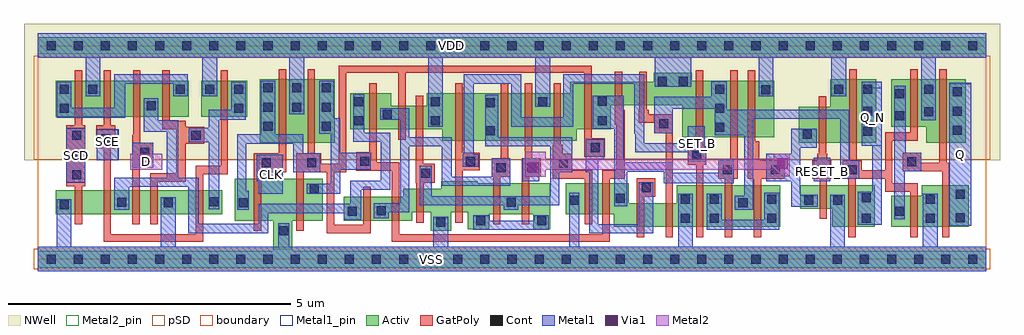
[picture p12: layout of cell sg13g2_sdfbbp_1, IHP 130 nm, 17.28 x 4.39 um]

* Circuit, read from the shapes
.subckt sg13g2_sdfbbp_1 CLK D Q Q_N RESET_B SCD SCE SET_B VDD VSS
XM1 n1 SCD VSS VSS sg13_lv_nmos w=0.42u l=0.13u
XM2 n2 SCE n1 VSS sg13_lv_nmos w=0.42u l=0.13u
XM3 n3 D n2 VSS sg13_lv_nmos w=0.42u l=0.13u
XM4 VSS n4 n3 VSS sg13_lv_nmos w=0.42u l=0.13u
XM5 n4 SCE VSS VSS sg13_lv_nmos w=0.42u l=0.13u
XM6 VSS CLK n5 VSS sg13_lv_nmos w=0.74u l=0.13u
XM7 n6 n5 VSS VSS sg13_lv_nmos w=0.74u l=0.13u
XM8 n7 n5 n2 VSS sg13_lv_nmos w=0.42u l=0.13u
XM9 n8 n6 n7 VSS sg13_lv_nmos w=0.42u l=0.13u
XM10 VSS n9 n8 VSS sg13_lv_nmos w=0.42u l=0.13u
XM11 n10 SET_B VSS VSS sg13_lv_nmos w=0.55u l=0.13u
XM12 n9 n7 n10 VSS sg13_lv_nmos w=0.55u l=0.13u
XM13 n10 n11 n9 VSS sg13_lv_nmos w=0.55u l=0.13u
XM14 n12 n9 VSS VSS sg13_lv_nmos w=0.55u l=0.13u
XM15 n13 n6 n12 VSS sg13_lv_nmos w=0.55u l=0.13u
XM16 n14 n5 n13 VSS sg13_lv_nmos w=0.42u l=0.13u
XM17 VSS n15 n14 VSS sg13_lv_nmos w=0.42u l=0.13u
XM18 n16 SET_B VSS VSS sg13_lv_nmos w=0.74u l=0.13u
XM19 n15 n13 n16 VSS sg13_lv_nmos w=0.74u l=0.13u
XM20 n16 n11 n15 VSS sg13_lv_nmos w=0.74u l=0.13u
XM21 VSS RESET_B n11 VSS sg13_lv_nmos w=0.42u l=0.13u
XM22 Q_N n15 VSS VSS sg13_lv_nmos w=0.74u l=0.13u
XM23 VSS n15 n17 VSS sg13_lv_nmos w=0.55u l=0.13u
XM24 Q n17 VSS VSS sg13_lv_nmos w=0.74u l=0.13u
XM25 VDD SCD n18 VDD sg13_lv_pmos w=0.64u l=0.13u
XM26 n19 SCE VDD VDD sg13_lv_pmos w=0.64u l=0.13u
XM27 n2 D n19 VDD sg13_lv_pmos w=0.64u l=0.13u
XM28 n18 n4 n2 VDD sg13_lv_pmos w=0.64u l=0.13u
XM29 n4 SCE VDD VDD sg13_lv_pmos w=0.64u l=0.13u
XM30 VDD CLK n5 VDD sg13_lv_pmos w=1.12u l=0.13u
XM31 n6 n5 VDD VDD sg13_lv_pmos w=1.12u l=0.13u
XM32 n7 n6 n2 VDD sg13_lv_pmos w=0.64u l=0.13u
XM33 n20 n5 n7 VDD sg13_lv_pmos w=0.42u l=0.13u
XM34 VDD n9 n20 VDD sg13_lv_pmos w=0.42u l=0.13u
XM35 n9 SET_B VDD VDD sg13_lv_pmos w=0.84u l=0.13u
XM36 n21 n7 n9 VDD sg13_lv_pmos w=0.84u l=0.13u
XM37 VDD n11 n21 VDD sg13_lv_pmos w=0.84u l=0.13u
XM38 n22 n9 VDD VDD sg13_lv_pmos w=0.84u l=0.13u
XM39 n13 n5 n22 VDD sg13_lv_pmos w=0.84u l=0.13u
XM40 n23 n6 n13 VDD sg13_lv_pmos w=0.42u l=0.13u
XM41 VDD n15 n23 VDD sg13_lv_pmos w=0.42u l=0.13u
XM42 n15 SET_B VDD VDD sg13_lv_pmos w=1u l=0.13u
XM43 n24 n13 n15 VDD sg13_lv_pmos w=1u l=0.13u
XM44 VDD n11 n24 VDD sg13_lv_pmos w=1u l=0.13u
XM45 VDD RESET_B n11 VDD sg13_lv_pmos w=0.64u l=0.13u
XM46 Q_N n15 VDD VDD sg13_lv_pmos w=1.12u l=0.13u
XM47 VDD n15 n17 VDD sg13_lv_pmos w=0.84u l=0.13u
XM48 Q n17 VDD VDD sg13_lv_pmos w=1.12u l=0.13u
.ends

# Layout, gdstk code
import gdstk
lib = gdstk.Library(unit=1e-6, precision=1e-09)
def R(c, l, rs):  # rectangles x0, y0, x1, y1
    for r in rs: c.add(gdstk.rectangle(r[:2], r[2:], *l))
def A(c, l, x, y, w, h, nx, ny, dx, dy):  # array of equal rectangles
    R(c, l, [(x+i*dx, y+j*dy, x+i*dx+w, y+j*dy+h) for i in range(nx) for j in range(ny)])
def P(c, l, *ps):  # polygons
    for p in ps: c.add(gdstk.Polygon(p, *l))
Activ = (1, 0)
GatPoly = (5, 0)
Cont = (6, 0)
Metal1 = (8, 0)
Metal1_pin = (8, 2)
Metal2 = (10, 0)
Metal2_pin = (10, 2)
pSD = (14, 0)
Via1 = (19, 0)
NWell = (31, 0)
boundary = (189, 4)

sg13g2_sdfbbp_1 = lib.new_cell('sg13g2_sdfbbp_1')
R(sg13g2_sdfbbp_1, Activ, [(0.32,0.795,3.27,1.215), (3.93,2.06,5.265,3.18), (0.32,2.52,2.68,3.16), (2.9,2.52,3.71,3.16), (0,3.63,16.8,3.93)])
P(sg13g2_sdfbbp_1, Activ, [(0,-0.15),(0,0.15),(4.17,0.15),(4.17,0.68),(3.49,0.68),(3.49,1.42),(5.05,1.42),(5.05,0.68),(4.51,0.68),(4.51,0.15),(16.8,0.15),(16.8,-0.15)],
  [(15.115,0.57),(15.115,1.12),(15.655,1.12),(15.655,1.31),(16.485,1.31),(16.485,0.57)],
  [(15.735,2.06),(15.735,2.34),(15.115,2.34),(15.115,3.18),(16.435,3.18),(16.435,2.06)],
  [(13.475,2.06),(13.475,2.7),(14.035,2.7),(14.035,3.18),(14.845,3.18),(14.845,2.06)],
  [(14.07,0.57),(14.07,0.89),(13.505,0.89),(13.505,1.31),(14.825,1.31),(14.825,0.57)],
  [(10.2,0.57),(10.2,0.795),(9.35,0.795),(9.35,1.345),(10.47,1.345),(10.47,0.99),(11.32,0.99),(11.32,1.31),(13.15,1.31),(13.15,0.57)],
  [(7.165,2.095),(7.165,2.295),(5.535,2.295),(5.535,2.935),(6.26,2.935),(6.26,2.715),(6.895,2.715),(6.895,2.935),(9.43,2.935),(9.43,3.14),(10.91,3.14),(10.91,3.3),(11.585,3.3),(11.585,3.16),(13.045,3.16),(13.045,2.16),(11.41,2.16),(11.41,2.72),(10.15,2.72),(10.15,2.3),(9.55,2.3),(9.55,2.095)],
  [(6.965,0.505),(6.965,0.825),(6.635,0.825),(6.635,0.68),(5.425,0.68),(5.425,1.1),(6.475,1.1),(6.475,1.245),(7.145,1.245),(7.145,1.375),(7.795,1.375),(7.795,1.345),(9.075,1.345),(9.075,0.53),(8.775,0.53),(8.775,0.795),(7.995,0.795),(7.995,0.53),(7.62,0.53),(7.62,0.825),(7.32,0.825),(7.32,0.505)])
P(sg13g2_sdfbbp_1, GatPoly, [(1.995,0.615),(1.995,1.515),(2.455,1.515),(2.455,2.295),(2.21,2.295),(2.21,3.34),(2.34,3.34),(2.34,2.445),(2.62,2.445),(2.62,2.345),(2.955,2.345),(2.955,2.045),(2.62,2.045),(2.62,1.365),(2.125,1.365),(2.125,0.615)],
  [(16.015,0.39),(16.015,1.555),(15.315,1.555),(15.315,1.885),(15.645,1.885),(15.645,1.705),(15.965,1.705),(15.965,3.36),(16.095,3.36),(16.095,1.705),(16.145,1.705),(16.145,0.39)],
  [(14.355,0.39),(14.355,1.42),(14.26,1.42),(14.26,1.75),(14.375,1.75),(14.375,3.36),(14.505,3.36),(14.505,1.75),(14.59,1.75),(14.59,1.57),(15.005,1.57),(15.005,2.245),(15.455,2.245),(15.455,3.36),(15.585,3.36),(15.585,2.095),(15.135,2.095),(15.135,1.345),(15.585,1.345),(15.585,0.39),(15.455,0.39),(15.455,1.195),(15.005,1.195),(15.005,1.42),(14.485,1.42),(14.485,0.39)],
  [(13.845,0.71),(13.845,1.42),(13.72,1.42),(13.72,1.75),(13.8,1.75),(13.8,1.865),(13.835,1.865),(13.835,2.88),(13.965,2.88),(13.965,1.865),(13.98,1.865),(13.98,1.75),(14.05,1.75),(14.05,1.42),(13.975,1.42),(13.975,0.71)],
  [(12.68,0.39),(12.68,1.42),(12.575,1.42),(12.575,3.34),(12.705,3.34),(12.705,2.085),(12.78,2.085),(12.78,1.75),(13.23,1.75),(13.23,1.42),(12.81,1.42),(12.81,0.39)],
  [(12.17,0.39),(12.17,1.42),(12.05,1.42),(12.05,1.75),(12.265,1.75),(12.265,3.34),(12.395,3.34),(12.395,1.42),(12.3,1.42),(12.3,0.39)],
  [(11.66,0.39),(11.66,1.67),(11.51,1.67),(11.51,2),(11.655,2),(11.655,3.34),(11.785,3.34),(11.785,2),(11.84,2),(11.84,1.67),(11.79,1.67),(11.79,0.39)],
  [(11.12,0.39),(11.12,2.23),(10.92,2.23),(10.92,2.41),(10.64,2.41),(10.64,2.645),(10.655,2.645),(10.655,3.32),(10.785,3.32),(10.785,2.645),(10.82,2.645),(10.82,2.56),(11.25,2.56),(11.25,0.39)],
  [(10.61,0.39),(10.61,1.43),(10.94,1.43),(10.94,1.1),(10.74,1.1),(10.74,0.39)],
  [(6.275,0.305),(6.275,1.565),(5.645,1.565),(5.645,1.895),(5.875,1.895),(5.875,3.115),(6.005,3.115),(6.005,1.715),(6.405,1.715),(6.405,0.435),(10,0.435),(10,1.57),(10.25,1.57),(10.25,2.38),(10.22,2.38),(10.22,3.32),(10.35,3.32),(10.35,2.645),(10.4,2.645),(10.4,1.42),(10.13,1.42),(10.13,0.305)],
  [(5.12,0.455),(5.12,1.54),(4.71,1.54),(4.71,0.5),(4.58,0.5),(4.58,1.87),(4.78,1.87),(4.78,3.36),(4.91,3.36),(4.91,1.87),(5.02,1.87),(5.02,1.69),(5.335,1.69),(5.335,3.425),(9.81,3.425),(9.81,2.14),(10.04,2.14),(10.04,1.81),(9.68,1.81),(9.68,3.295),(6.515,3.295),(6.515,2.115),(6.385,2.115),(6.385,3.295),(5.465,3.295),(5.465,1.54),(5.25,1.54),(5.25,0.605),(5.765,0.605),(5.765,1.28),(5.895,1.28),(5.895,0.455)],
  [(9.69,0.615),(9.69,1.42),(9.12,1.42),(9.12,2.02),(9.135,2.02),(9.135,3.115),(9.265,3.115),(9.265,2.02),(9.3,2.02),(9.3,1.865),(9.47,1.865),(9.47,1.57),(9.82,1.57),(9.82,0.615)],
  [(8.575,0.615),(8.575,1.785),(8.625,1.785),(8.625,3.115),(8.755,3.115),(8.755,1.785),(8.91,1.785),(8.91,1.455),(8.705,1.455),(8.705,0.615)],
  [(8.065,0.615),(8.065,1.455),(8.04,1.455),(8.04,1.785),(8.205,1.785),(8.205,3.115),(8.335,3.115),(8.335,1.785),(8.37,1.785),(8.37,1.455),(8.195,1.455),(8.195,0.615)],
  [(7.395,0.645),(7.395,3.115),(7.525,3.115),(7.525,1.885),(7.83,1.885),(7.83,1.57),(7.525,1.57),(7.525,0.645)],
  [(6.705,0.645),(6.705,1.355),(6.695,1.355),(6.695,2.895),(6.825,2.895),(6.825,1.685),(7.035,1.685),(7.035,1.355),(6.835,1.355),(6.835,0.645)],
  [(3.83,0.5),(3.83,1.87),(4.27,1.87),(4.27,3.36),(4.4,3.36),(4.4,1.54),(3.96,1.54),(3.96,0.5)],
  [(1.17,0.305),(1.17,1.965),(1.035,1.965),(1.035,2.365),(1.17,2.365),(1.17,3.34),(1.3,3.34),(1.3,2.365),(1.375,2.365),(1.375,1.965),(1.3,1.965),(1.3,0.435),(2.8,0.435),(2.8,1.655),(3.24,1.655),(3.24,3.34),(3.37,3.34),(3.37,1.505),(2.93,1.505),(2.93,0.305)],
  [(1.68,0.615),(1.68,2.2),(1.69,2.2),(1.69,3.34),(1.82,3.34),(1.82,2.055),(2.05,2.055),(2.05,1.725),(1.81,1.725),(1.81,0.615)],
  [(0.66,0.615),(0.66,1.285),(0.51,1.285),(0.51,2.365),(0.66,2.365),(0.66,3.34),(0.79,3.34),(0.79,2.365),(0.84,2.365),(0.84,1.285),(0.79,1.285),(0.79,0.615)])
A(sg13g2_sdfbbp_1, Cont, 0.16, -0.08, 0.16, 0.16, 35, 2, 0.48, 3.78)
A(sg13g2_sdfbbp_1, Cont, 0.61, 1.41, 0.16, 0.16, 1, 3, 0, 0.35)
A(sg13g2_sdfbbp_1, Cont, 16.205, 2.2, 0.16, 0.16, 1, 3, 0, 0.34)
A(sg13g2_sdfbbp_1, Cont, 11.995, 2.25, 0.16, 0.16, 1, 3, 0, 0.34)
A(sg13g2_sdfbbp_1, Cont, 4, 2.27, 0.16, 0.16, 1, 3, 0, 0.34)
A(sg13g2_sdfbbp_1, Cont, 5.035, 2.27, 0.16, 0.16, 1, 3, 0, 0.34)
R(sg13g2_sdfbbp_1, Cont, [(4.28,0.425,4.44,0.585), (7.06,0.575,7.22,0.735), (7.765,0.6,7.925,0.76), (8.845,0.6,9.005,0.76), (11.39,0.64,11.55,0.8), (11.9,0.64,12.06,0.8), (12.92,0.64,13.08,0.8), (14.595,0.64,14.755,0.8), (15.725,0.64,15.885,0.8), (16.255,0.655,16.415,0.815), (5.495,0.765,5.655,0.925), (15.185,0.765,15.345,0.925), (6.005,0.775,6.165,0.935), (0.39,0.885,0.55,1.045), (2.235,0.915,2.395,1.075), (3.56,0.92,3.72,1.08), (12.41,0.92,12.57,1.08), (1.41,0.925,1.57,1.085), (8.305,0.925,8.465,1.085), (3.04,0.935,3.2,1.095), (13.575,0.96,13.735,1.12), (14.085,0.96,14.245,1.12), (9.42,0.965,9.58,1.125), (11.39,0.98,11.55,1.14), (11.9,0.98,12.06,1.14), (12.92,0.98,13.08,1.14), (15.725,0.98,15.885,1.14), (10.24,1,10.4,1.16), (14.595,1.005,14.755,1.165), (16.255,1.07,16.415,1.23), (4.82,1.165,4.98,1.325), (10.695,1.185,10.855,1.345), (6.79,1.44,6.95,1.6), (12.135,1.505,12.295,1.665), (12.985,1.505,13.145,1.665), (13.805,1.505,13.965,1.665), (14.345,1.505,14.505,1.665), (8.125,1.54,8.285,1.7), (8.665,1.54,8.825,1.7), (9.225,1.62,9.385,1.78), (3.97,1.625,4.13,1.785), (4.775,1.625,4.935,1.785), (15.4,1.64,15.56,1.8), (5.715,1.65,5.875,1.81), (7.585,1.655,7.745,1.815), (11.595,1.755,11.755,1.915), (1.815,1.81,1.975,1.97), (9.795,1.895,9.955,2.055), (1.125,2.05,1.285,2.21), (2.725,2.115,2.885,2.275), (13.545,2.13,13.705,2.29), (14.615,2.185,14.775,2.345), (7.935,2.195,8.095,2.355), (11.005,2.315,11.165,2.475), (5.605,2.365,5.765,2.525), (6.965,2.365,7.125,2.525), (9.92,2.37,10.08,2.53), (15.185,2.46,15.345,2.62), (6.115,2.485,6.275,2.645), (15.695,2.53,15.855,2.69), (14.615,2.54,14.775,2.7), (0.39,2.59,0.55,2.75), (3.48,2.59,3.64,2.75), (4.51,2.61,4.67,2.77), (1.93,2.635,2.09,2.795), (7.935,2.69,8.095,2.85), (5.605,2.705,5.765,2.865), (6.965,2.705,7.125,2.865), (8.865,2.705,9.025,2.865), (9.92,2.715,10.08,2.875), (15.185,2.845,15.345,3.005), (12.815,2.92,12.975,3.08), (14.105,2.925,14.265,3.085), (14.615,2.925,14.775,3.085), (15.695,2.925,15.855,3.085), (0.39,2.93,0.55,3.09), (0.9,2.93,1.06,3.09), (2.45,2.93,2.61,3.09), (2.97,2.93,3.13,3.09), (3.48,2.93,3.64,3.09), (4.51,2.95,4.67,3.11), (10.98,3.07,11.14,3.23), (11.355,3.07,11.515,3.23)])
R(sg13g2_sdfbbp_1, Metal1, [(16.145,0.59,16.535,3.12), (0.51,1.355,0.84,2.325), (8.58,1.38,8.885,1.785), (13.74,1.38,14.035,1.79), (1.68,1.62,2.05,2.055), (1.05,1.75,1.435,2.295)])
P(sg13g2_sdfbbp_1, Metal1, [(3.92,1.155),(3.92,1.38),(3.885,1.38),(3.885,1.85),(4.34,1.85),(4.34,1.155)],
  [(3.03,0.885),(3.03,2.065),(2.675,2.065),(2.675,2.325),(3.03,2.325),(3.03,2.64),(3.43,2.64),(3.43,3.14),(3.69,3.14),(3.69,2.47),(3.215,2.47),(3.215,0.885)],
  [(0,-0.22),(0,0.22),(0.34,0.22),(0.34,1.055),(0.6,1.055),(0.6,0.22),(2.185,0.22),(2.185,1.095),(2.445,1.095),(2.445,0.22),(4.26,0.22),(4.26,0.635),(4.46,0.635),(4.46,0.22),(7.01,0.22),(7.01,0.745),(7.27,0.745),(7.27,0.22),(9.415,0.22),(9.415,1.175),(9.59,1.175),(9.59,0.22),(11.34,0.22),(11.34,1.16),(11.6,1.16),(11.6,0.22),(14.035,0.22),(14.035,1.14),(14.295,1.14),(14.295,0.22),(15.675,0.22),(15.675,1.155),(15.935,1.155),(15.935,0.22),(16.8,0.22),(16.8,-0.22)],
  [(6.915,2.34),(6.915,3.56),(4.72,3.56),(4.72,2.56),(4.46,2.56),(4.46,3.56),(3.18,3.56),(3.18,2.88),(2.92,2.88),(2.92,3.56),(1.11,3.56),(1.11,2.88),(0.85,2.88),(0.85,3.56),(0,3.56),(0,4),(16.8,4),(16.8,3.56),(15.905,3.56),(15.905,2.455),(15.645,2.455),(15.645,3.56),(14.315,3.56),(14.315,2.885),(14.055,2.885),(14.055,3.56),(13.025,3.56),(13.025,2.88),(12.765,2.88),(12.765,3.56),(11.57,3.56),(11.57,3.055),(10.925,3.055),(10.925,3.56),(9.075,3.56),(9.075,2.695),(8.815,2.695),(8.815,3.56),(7.175,3.56),(7.175,2.34)],
  [(15.17,0.705),(15.17,3.07),(15.375,3.07),(15.375,1.885),(15.645,1.885),(15.645,1.555),(15.355,1.555),(15.355,0.705)],
  [(14.52,0.61),(14.52,1.19),(14.78,1.19),(14.78,2.005),(14.59,2.005),(14.59,3.135),(14.95,3.135),(14.95,0.61)],
  [(12.34,0.875),(12.34,1.125),(12.51,1.125),(12.51,2.195),(11.99,2.195),(11.99,2.66),(11.25,2.66),(11.25,2.23),(10.92,2.23),(10.92,2.87),(11.93,2.87),(11.93,3.145),(12.205,3.145),(12.205,2.645),(14.375,2.645),(14.375,1.75),(14.55,1.75),(14.55,1.42),(14.215,1.42),(14.215,2.485),(12.67,2.485),(12.67,0.875)],
  [(13.34,0.93),(13.34,1.38),(12.9,1.38),(12.9,1.865),(13.34,1.865),(13.34,2.305),(13.795,2.305),(13.795,1.975),(13.5,1.975),(13.5,1.14),(13.815,1.14),(13.815,0.93)],
  [(11.85,0.515),(11.85,1.155),(12.11,1.155),(12.11,0.695),(12.87,0.695),(12.87,1.17),(13.13,1.17),(13.13,0.515)],
  [(10.21,0.935),(10.21,2.31),(9.83,2.31),(9.83,2.895),(10.38,2.895),(10.38,1.71),(11.25,1.71),(11.25,1.525),(12.05,1.525),(12.05,1.75),(12.33,1.75),(12.33,1.345),(11.085,1.345),(11.085,1.55),(10.44,1.55),(10.44,0.935)],
  [(7.525,1.635),(7.525,1.855),(7.55,1.855),(7.55,3.275),(8.56,3.275),(8.56,2.51),(9.31,2.51),(9.31,3.275),(10.74,3.275),(10.74,2.05),(11.51,2.05),(11.51,2.35),(11.81,2.35),(11.81,2),(11.84,2),(11.84,1.72),(11.51,1.72),(11.51,1.89),(10.58,1.89),(10.58,2.215),(10.565,2.215),(10.565,3.105),(9.48,3.105),(9.48,2.345),(8.39,2.345),(8.39,3.105),(7.72,3.105),(7.72,1.855),(7.815,1.855),(7.815,1.635)],
  [(9.77,0.455),(9.77,1.535),(9.71,1.535),(9.71,2.125),(10.03,2.125),(10.03,1.755),(9.93,1.755),(9.93,0.615),(10.645,0.615),(10.645,1.36),(10.905,1.36),(10.905,0.455)],
  [(8.255,0.87),(8.255,0.955),(6.77,0.955),(6.77,1.65),(6.975,1.65),(6.975,1.115),(9.075,1.115),(9.075,2),(7.925,2),(7.925,2.905),(8.16,2.905),(8.16,2.16),(9.47,2.16),(9.47,1.535),(9.235,1.535),(9.235,0.955),(8.515,0.955),(8.515,0.87)],
  [(7.71,0.52),(7.71,0.775),(8.005,0.775),(8.005,0.68),(8.795,0.68),(8.795,0.775),(9.055,0.775),(9.055,0.52)],
  [(5.955,0.725),(5.955,0.985),(6.42,0.985),(6.42,2.465),(6.065,2.465),(6.065,2.67),(6.58,2.67),(6.58,2.16),(7.33,2.16),(7.33,1.455),(8.04,1.455),(8.04,1.785),(8.37,1.785),(8.37,1.295),(7.16,1.295),(7.16,1.995),(6.58,1.995),(6.58,0.825),(6.22,0.825),(6.22,0.725)],
  [(2.67,0.455),(2.67,1.28),(1.62,1.28),(1.62,0.875),(1.36,0.875),(1.36,1.44),(2.29,1.44),(2.29,2.255),(1.88,2.255),(1.88,2.845),(2.14,2.845),(2.14,2.455),(2.495,2.455),(2.495,1.44),(2.85,1.44),(2.85,0.625),(3.92,0.625),(3.92,0.975),(5.54,0.975),(5.54,1.385),(6.08,1.385),(6.08,2.075),(5.585,2.075),(5.585,2.92),(5.785,2.92),(5.785,2.235),(6.24,2.235),(6.24,1.225),(5.73,1.225),(5.73,0.7),(5.425,0.7),(5.425,0.815),(4.08,0.815),(4.08,0.455)],
  [(3.535,0.87),(3.535,2.21),(3.95,2.21),(3.95,3.16),(4.21,3.16),(4.21,2.21),(4.7,2.21),(4.7,1.87),(5.005,1.87),(5.005,1.54),(4.53,1.54),(4.53,2.04),(3.695,2.04),(3.695,1.21),(3.74,1.21),(3.74,0.87)],
  [(0.34,2.505),(0.34,3.14),(0.6,3.14),(0.6,2.675),(1.355,2.675),(1.355,3.275),(2.66,3.275),(2.66,2.88),(2.4,2.88),(2.4,3.105),(1.555,3.105),(1.555,2.505)],
  [(4.77,1.155),(4.77,1.335),(5.19,1.335),(5.19,2.22),(4.985,2.22),(4.985,3.16),(5.245,3.16),(5.245,2.49),(5.36,2.49),(5.36,1.88),(5.9,1.88),(5.9,1.58),(5.36,1.58),(5.36,1.155)])
R(sg13g2_sdfbbp_1, Metal1_pin, [(0,-0.22,16.8,0.22), (16.145,0.59,16.535,3.1), (3.92,1.16,4.34,1.85), (0.51,1.36,0.84,2.32), (13.74,1.38,14.035,1.79), (1.05,1.75,1.43,2.29), (11.51,1.89,11.81,2.35), (14.59,2.005,14.95,3.035), (0,3.56,16.8,4)])
R(sg13g2_sdfbbp_1, Metal2, [(1.645,1.58,2.205,1.86)])
P(sg13g2_sdfbbp_1, Metal2, [(8.635,1.455),(8.635,1.9),(9,1.9),(9,1.78),(13.03,1.78),(13.03,1.865),(13.32,1.865),(13.32,1.47),(13.03,1.47),(13.03,1.58),(9,1.58),(9,1.455)])
R(sg13g2_sdfbbp_1, Metal2_pin, [(1.645,1.58,2.205,1.86)])
R(sg13g2_sdfbbp_1, pSD, [(-0.07,-0.18,16.87,0.18), (-0.07,1.76,16.87,3.6)])
R(sg13g2_sdfbbp_1, Via1, [(8.685,1.52,8.875,1.71), (13.09,1.595,13.28,1.785), (1.79,1.645,1.98,1.835)])
R(sg13g2_sdfbbp_1, NWell, [(-0.24,1.75,17.04,4.17)])
R(sg13g2_sdfbbp_1, boundary, [(0,0,16.8,3.78)])
sg13g2_sdfbbp_1.add(gdstk.Label('Q', (16.34,1.845), layer=8, texttype=25))
sg13g2_sdfbbp_1.add(gdstk.Label('SCD', (0.69,1.83), layer=8, texttype=25))
sg13g2_sdfbbp_1.add(gdstk.Label('SCE', (1.24,2.08), layer=8, texttype=25))
sg13g2_sdfbbp_1.add(gdstk.Label('CLK', (4.15,1.5), layer=8, texttype=25))
sg13g2_sdfbbp_1.add(gdstk.Label('VDD', (7.32,3.78), layer=8, texttype=25))
sg13g2_sdfbbp_1.add(gdstk.Label('VSS', (6.98,0), layer=8, texttype=25))
sg13g2_sdfbbp_1.add(gdstk.Label('SET_B', (11.68,2.04), layer=8, texttype=25))
sg13g2_sdfbbp_1.add(gdstk.Label('RESET_B', (13.9,1.555), layer=8, texttype=25))
sg13g2_sdfbbp_1.add(gdstk.Label('Q_N', (14.775,2.5), layer=8, texttype=25))
sg13g2_sdfbbp_1.add(gdstk.Label('D', (1.92,1.725), layer=10, texttype=25))

lib.write_gds('sg13g2_sdfbbp_1.gds')
